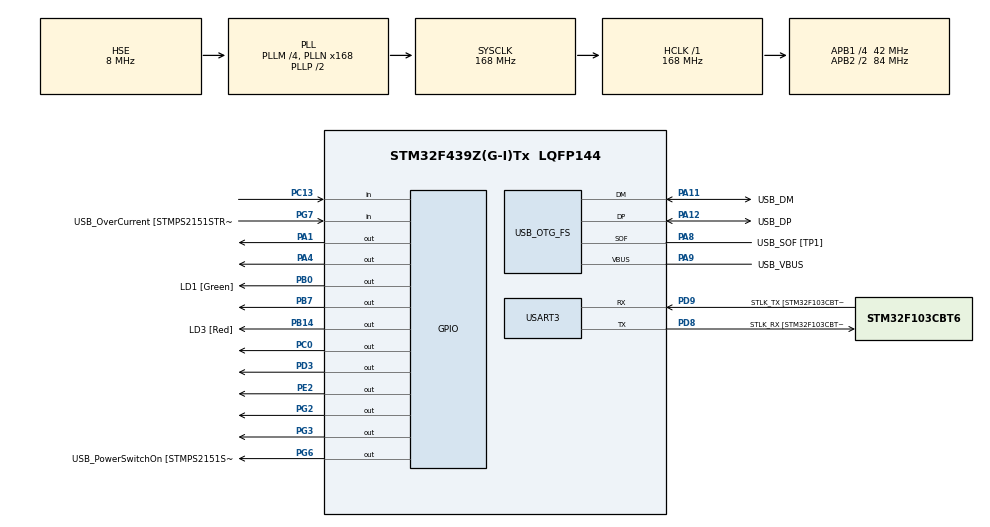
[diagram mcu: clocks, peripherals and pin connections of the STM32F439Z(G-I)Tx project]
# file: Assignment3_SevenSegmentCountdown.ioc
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Mcu.Family=STM32F4
Mcu.Name=STM32F439Z(G-I)Tx
Mcu.Package=LQFP144
NVIC.PriorityGroup=NVIC_PRIORITYGROUP_4
PA1.Signal=GPIO_Output
PA10.GPIO_Label=USB_ID
PA10.Signal=USB_OTG_FS_ID
PA11.GPIO_Label=USB_DM
PA11.Mode=Device_Only
PA11.Signal=USB_OTG_FS_DM
PA12.GPIO_Label=USB_DP
PA12.Mode=Device_Only
PA12.Signal=USB_OTG_FS_DP
PA13.GPIO_Label=TMS
PA13.Mode=Serial_Wire
PA13.Signal=SYS_JTMS-SWDIO
PA14.GPIO_Label=TCK
PA14.Mode=Serial_Wire
PA14.Signal=SYS_JTCK-SWCLK
PA2.GPIO_Label=RMII_MDIO [LAN8742A-CZ-TR_MDIO]
PA2.Signal=ETH_MDIO
PA4.Signal=GPIO_Output
PA7.GPIO_Label=RMII_CRS_DV [LAN8742A-CZ-TR_CRS_DV]
PA7.Signal=ETH_CRS_DV
PA8.GPIO_Label=USB_SOF [TP1]
PA8.Mode=Activate_SOF_FS
PA8.Signal=USB_OTG_FS_SOF
PA9.GPIO_Label=USB_VBUS
PA9.Mode=Activate_VBUS
PA9.Signal=USB_OTG_FS_VBUS
PB0.GPIO_Label=LD1 [Green]
PB0.Signal=GPIO_Output
PB13.GPIO_Label=RMII_TXD1 [LAN8742A-CZ-TR_TXD1]
PB13.Signal=ETH_TXD1
PB14.GPIO_Label=LD3 [Red]
PB14.Signal=GPIO_Output
PB7.Signal=GPIO_Output
PC0.Signal=GPIO_Output
PC1.GPIO_Label=RMII_MDC [LAN8742A-CZ-TR_MDC]
PC1.Signal=ETH_MDC
PC13.Signal=GPIO_Input
PC14/OSC32_IN.Mode=LSE-External-Oscillator
PC14/OSC32_IN.Signal=RCC_OSC32_IN
PC15/OSC32_OUT.Mode=LSE-External-Oscillator
PC15/OSC32_OUT.Signal=RCC_OSC32_OUT
PC4.GPIO_Label=RMII_RXD0 [LAN8742A-CZ-TR_RXD0]
PC4.Signal=ETH_RXD0
PC5.GPIO_Label=RMII_RXD1 [LAN8742A-CZ-TR_RXD1]
PC5.Signal=ETH_RXD1
PD3.Signal=GPIO_Output
PD8.GPIO_Label=STLK_RX [STM32F103CBT6_PA3]
PD8.Mode=Asynchronous
PD8.Signal=USART3_TX
PD9.GPIO_Label=STLK_TX [STM32F103CBT6_PA2]
PD9.Mode=Asynchronous
PD9.Signal=USART3_RX
PE2.Signal=GPIO_Output
PG11.GPIO_Label=RMII_TX_EN [LAN8742A-CZ-TR_TXEN]
PG11.Signal=ETH_TX_EN
PG13.GPIO_Label=RMII_TXD0 [LAN8742A-CZ-TR_TXD0]
PG13.Signal=ETH_TXD0
PG2.Signal=GPIO_Output
PG3.Signal=GPIO_Output
PG6.GPIO_Label=USB_PowerSwitchOn [STMPS2151STR_EN]
PG6.Signal=GPIO_Output
PG7.GPIO_Label=USB_OverCurrent [STMPS2151STR_FAULT]
PG7.Signal=GPIO_Input
PH0/OSC_IN.GPIO_Label=MCO [STM32F103CBT6_PA8]
PH0/OSC_IN.Mode=HSE-External-Clock-Source
PH0/OSC_IN.Signal=RCC_OSC_IN
PH1/OSC_OUT.Mode=HSE-External-Clock-Source
PH1/OSC_OUT.Signal=RCC_OSC_OUT
ProjectManager.HeapSize=0x200
ProjectManager.StackSize=0x400
ProjectManager.TargetToolchain=STM32CubeIDE
RCC.48MHZClocksFreq_Value=48000000
RCC.AHBFreq_Value=168000000
RCC.APB1CLKDivider=RCC_HCLK_DIV4
RCC.APB1Freq_Value=42000000
RCC.APB1TimFreq_Value=84000000
RCC.APB2CLKDivider=RCC_HCLK_DIV2
RCC.APB2Freq_Value=84000000
RCC.APB2TimCLKDivider=2
RCC.APB2TimFreq_Value=168000000
RCC.CortexFreq_Value=168000000
RCC.HCLKFreq_Value=168000000
RCC.HSE_VALUE=8000000
RCC.HSI_VALUE=16000000
RCC.PLLM=4
RCC.PLLMUL=RCC_PLL_MUL9
RCC.PLLN=168
RCC.PLLQ=7
RCC.PRESCALERUSB=RCC_USBCLKSOURCE_PLL_DIV1_5
RCC.SYSCLKFreq_VALUE=168000000
RCC.SYSCLKSource=RCC_SYSCLKSOURCE_PLLCLK
RCC.SYSCLKSourceVirtual=RCC_SYSCLKSOURCE_PLLCLK
RCC.USBFreq_Value=48000000
RCC.VCOOutputFreq_Value=336000000
USART3.VirtualMode=VM_ASYNC
USB_OTG_FS.VirtualMode=Device_Only
board=NUCLEO-F439ZI

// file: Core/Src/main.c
/* USER CODE BEGIN Header */
/**
  ******************************************************************************
  * @file           : main.c
  * @brief          : Main program body
  ******************************************************************************
  * @attention
  *
  * Copyright (c) 2025 STMicroelectronics.
  * All rights reserved.
  *
  * This software is licensed under terms that can be found in the LICENSE file
  * in the root directory of this software component.
  * If no LICENSE file comes with this software, it is provided AS-IS.
  *
  ******************************************************************************
  */
/* USER CODE END Header */
#include "main.h"

UART_HandleTypeDef huart3;

PCD_HandleTypeDef hpcd_USB_OTG_FS;

/* USER CODE BEGIN PV */
int counter = 0;
int selected_value;
int long_press_flag = 0;
int short_press_flag=0;
int debounce_time = 200;
int user_button;
int seven_map[] = {63, 6, 91, 79, 102, 109, 125, 7, 127, 111};

/* USER CODE END PV */

void SystemClock_Config(void);
static void MX_GPIO_Init(void);
static void MX_USART3_UART_Init(void);
static void MX_USB_OTG_FS_PCD_Init(void);

/* USER CODE BEGIN 0 */

void display_seven_segment(int num){
	//complete this function
	int shift_num = seven_map[num];

	HAL_GPIO_WritePin(GPIOA, GPIO_PIN_1, !(shift_num & 1) ); //A
	shift_num = shift_num >> 1;
	HAL_GPIO_WritePin(GPIOA, GPIO_PIN_4, !(shift_num & 1) );  //B
	shift_num = shift_num >> 1;
	HAL_GPIO_WritePin(GPIOC, GPIO_PIN_0, !(shift_num & 1) );  //C
	shift_num = shift_num >> 1;
	HAL_GPIO_WritePin(GPIOD, GPIO_PIN_3, !(shift_num & 1) ); //D
	shift_num = shift_num >> 1;
	HAL_GPIO_WritePin(GPIOG, GPIO_PIN_2, !(shift_num & 1)); //E
	shift_num = shift_num >> 1;
	HAL_GPIO_WritePin(GPIOG, GPIO_PIN_3, !(shift_num & 1) ); //F
	shift_num = shift_num >> 1;
	HAL_GPIO_WritePin(GPIOE, GPIO_PIN_2, !(shift_num & 1)); //G
}

void flash_leds(void){
	//make the LEDs flash
	HAL_GPIO_WritePin(GPIOB, LD1_Pin, 1);
		HAL_GPIO_WritePin(GPIOB, GPIO_PIN_7, 1);
		HAL_GPIO_WritePin(GPIOB, LD3_Pin, 1);
		HAL_Delay(800);

		HAL_GPIO_WritePin(GPIOB, LD1_Pin, 0);
		HAL_GPIO_WritePin(GPIOB, GPIO_PIN_7, 0);
		HAL_GPIO_WritePin(GPIOB, LD3_Pin, 0);
		HAL_Delay(200);

		HAL_GPIO_WritePin(GPIOB, LD1_Pin, 1);
		HAL_GPIO_WritePin(GPIOB, GPIO_PIN_7, 1);
		HAL_GPIO_WritePin(GPIOB, LD3_Pin, 1);
		HAL_Delay(800);

		HAL_GPIO_WritePin(GPIOB, LD1_Pin, 0);
		HAL_GPIO_WritePin(GPIOB, GPIO_PIN_7, 0);
		HAL_GPIO_WritePin(GPIOB, LD3_Pin, 0);
		HAL_Delay(200);

		HAL_GPIO_WritePin(GPIOB, LD1_Pin, 1);
		HAL_GPIO_WritePin(GPIOB, GPIO_PIN_7, 1);
		HAL_GPIO_WritePin(GPIOB, LD3_Pin, 1);
		HAL_Delay(800);

		HAL_GPIO_WritePin(GPIOB, LD1_Pin, 0);
		HAL_GPIO_WritePin(GPIOB, GPIO_PIN_7, 0);
		HAL_GPIO_WritePin(GPIOB, LD3_Pin, 0);
		HAL_Delay(200);
}

int check_long_press(void){
		HAL_Delay(50);
		user_button = HAL_GPIO_ReadPin(GPIOC,GPIO_PIN_13);
		if (user_button){
			short_press_flag=1;
		}
		for (int i=0;i<15;i++){
			user_button = HAL_GPIO_ReadPin(GPIOC,GPIO_PIN_13);
			if (user_button==0){
				return 0;
			}
			HAL_Delay(200);

		}
		short_press_flag=0;
		return 1;

}

/* USER CODE END 0 */

int main(void)
{

  /* MCU Configuration--------------------------------------------------------*/

  /* Reset of all peripherals, Initializes the Flash interface and the Systick. */
  HAL_Init();

  /* Configure the system clock */
  SystemClock_Config();

  /* Initialize all configured peripherals */
  MX_GPIO_Init();
  MX_USART3_UART_Init();
  MX_USB_OTG_FS_PCD_Init();

  /* Infinite loop */
  while (1)
  {
	  display_seven_segment(counter);
	  user_button = HAL_GPIO_ReadPin(GPIOC,GPIO_PIN_13);
	  if (user_button==1){
		  long_press_flag=check_long_press();
	  }
	  if (short_press_flag){
		  counter=(counter+1)%10;
		  display_seven_segment(counter);
		  short_press_flag=0;
	  }
	  if (long_press_flag){
		  flash_leds();
		  selected_value=counter;
		 while(1){
			 display_seven_segment(counter);
			 counter--;
			 if (counter==-1){
				 counter=selected_value;
			 }
			 HAL_Delay(500);
		 }
	  }
}
}

void SystemClock_Config(void)
{
  RCC_OscInitTypeDef RCC_OscInitStruct = {0};
  RCC_ClkInitTypeDef RCC_ClkInitStruct = {0};

  /** Configure the main internal regulator output voltage
  */
  __HAL_RCC_PWR_CLK_ENABLE();
  __HAL_PWR_VOLTAGESCALING_CONFIG(PWR_REGULATOR_VOLTAGE_SCALE1);

  /** Initializes the RCC Oscillators according to the specified parameters
  * in the RCC_OscInitTypeDef structure.
  */
  RCC_OscInitStruct.OscillatorType = RCC_OSCILLATORTYPE_HSE;
  RCC_OscInitStruct.HSEState = RCC_HSE_BYPASS;
  RCC_OscInitStruct.PLL.PLLState = RCC_PLL_ON;
  RCC_OscInitStruct.PLL.PLLSource = RCC_PLLSOURCE_HSE;
  RCC_OscInitStruct.PLL.PLLM = 4;
  RCC_OscInitStruct.PLL.PLLN = 168;
  RCC_OscInitStruct.PLL.PLLP = RCC_PLLP_DIV2;
  RCC_OscInitStruct.PLL.PLLQ = 7;
  if (HAL_RCC_OscConfig(&RCC_OscInitStruct) != HAL_OK)
  {
    Error_Handler();
  }

  /** Initializes the CPU, AHB and APB buses clocks
  */
  RCC_ClkInitStruct.ClockType = RCC_CLOCKTYPE_HCLK|RCC_CLOCKTYPE_SYSCLK
                              |RCC_CLOCKTYPE_PCLK1|RCC_CLOCKTYPE_PCLK2;
  RCC_ClkInitStruct.SYSCLKSource = RCC_SYSCLKSOURCE_PLLCLK;
  RCC_ClkInitStruct.AHBCLKDivider = RCC_SYSCLK_DIV1;
  RCC_ClkInitStruct.APB1CLKDivider = RCC_HCLK_DIV4;
  RCC_ClkInitStruct.APB2CLKDivider = RCC_HCLK_DIV2;

  if (HAL_RCC_ClockConfig(&RCC_ClkInitStruct, FLASH_LATENCY_5) != HAL_OK)
  {
    Error_Handler();
  }
}

static void MX_USART3_UART_Init(void)
{

  huart3.Instance = USART3;
  huart3.Init.BaudRate = 115200;
  huart3.Init.WordLength = UART_WORDLENGTH_8B;
  huart3.Init.StopBits = UART_STOPBITS_1;
  huart3.Init.Parity = UART_PARITY_NONE;
  huart3.Init.Mode = UART_MODE_TX_RX;
  huart3.Init.HwFlowCtl = UART_HWCONTROL_NONE;
  huart3.Init.OverSampling = UART_OVERSAMPLING_16;
  if (HAL_UART_Init(&huart3) != HAL_OK)
  {
    Error_Handler();
  }

}

static void MX_USB_OTG_FS_PCD_Init(void)
{

  hpcd_USB_OTG_FS.Instance = USB_OTG_FS;
  hpcd_USB_OTG_FS.Init.dev_endpoints = 4;
  hpcd_USB_OTG_FS.Init.speed = PCD_SPEED_FULL;
  hpcd_USB_OTG_FS.Init.dma_enable = DISABLE;
  hpcd_USB_OTG_FS.Init.phy_itface = PCD_PHY_EMBEDDED;
  hpcd_USB_OTG_FS.Init.Sof_enable = ENABLE;
  hpcd_USB_OTG_FS.Init.low_power_enable = DISABLE;
  hpcd_USB_OTG_FS.Init.lpm_enable = DISABLE;
  hpcd_USB_OTG_FS.Init.vbus_sensing_enable = ENABLE;
  hpcd_USB_OTG_FS.Init.use_dedicated_ep1 = DISABLE;
  if (HAL_PCD_Init(&hpcd_USB_OTG_FS) != HAL_OK)
  {
    Error_Handler();
  }

}

static void MX_GPIO_Init(void)
{
  GPIO_InitTypeDef GPIO_InitStruct = {0};

  /* GPIO Ports Clock Enable */
  __HAL_RCC_GPIOE_CLK_ENABLE();
  __HAL_RCC_GPIOC_CLK_ENABLE();
  __HAL_RCC_GPIOH_CLK_ENABLE();
  __HAL_RCC_GPIOA_CLK_ENABLE();
  __HAL_RCC_GPIOB_CLK_ENABLE();
  __HAL_RCC_GPIOD_CLK_ENABLE();
  __HAL_RCC_GPIOG_CLK_ENABLE();

  /*Configure GPIO pin Output Level */
  HAL_GPIO_WritePin(GPIOE, GPIO_PIN_2, GPIO_PIN_RESET);

  /*Configure GPIO pin Output Level */
  HAL_GPIO_WritePin(GPIOC, GPIO_PIN_0, GPIO_PIN_RESET);

  /*Configure GPIO pin Output Level */
  HAL_GPIO_WritePin(GPIOA, GPIO_PIN_1|GPIO_PIN_4, GPIO_PIN_RESET);

  /*Configure GPIO pin Output Level */
  HAL_GPIO_WritePin(GPIOB, LD1_Pin|LD3_Pin|GPIO_PIN_7, GPIO_PIN_RESET);

  /*Configure GPIO pin Output Level */
  HAL_GPIO_WritePin(GPIOG, GPIO_PIN_2|GPIO_PIN_3|USB_PowerSwitchOn_Pin, GPIO_PIN_RESET);

  /*Configure GPIO pin Output Level */
  HAL_GPIO_WritePin(GPIOD, GPIO_PIN_3, GPIO_PIN_RESET);

  /*Configure GPIO pin : PE2 */
  GPIO_InitStruct.Pin = GPIO_PIN_2;
  GPIO_InitStruct.Mode = GPIO_MODE_OUTPUT_PP;
  GPIO_InitStruct.Pull = GPIO_NOPULL;
  GPIO_InitStruct.Speed = GPIO_SPEED_FREQ_LOW;
  HAL_GPIO_Init(GPIOE, &GPIO_InitStruct);

  /*Configure GPIO pin : PC13 */
  GPIO_InitStruct.Pin = GPIO_PIN_13;
  GPIO_InitStruct.Mode = GPIO_MODE_INPUT;
  GPIO_InitStruct.Pull = GPIO_NOPULL;
  HAL_GPIO_Init(GPIOC, &GPIO_InitStruct);

  /*Configure GPIO pin : PC0 */
  GPIO_InitStruct.Pin = GPIO_PIN_0;
  GPIO_InitStruct.Mode = GPIO_MODE_OUTPUT_PP;
  GPIO_InitStruct.Pull = GPIO_NOPULL;
  GPIO_InitStruct.Speed = GPIO_SPEED_FREQ_LOW;
  HAL_GPIO_Init(GPIOC, &GPIO_InitStruct);

  /*Configure GPIO pins : RMII_MDC_Pin RMII_RXD0_Pin RMII_RXD1_Pin */
  GPIO_InitStruct.Pin = RMII_MDC_Pin|RMII_RXD0_Pin|RMII_RXD1_Pin;
  GPIO_InitStruct.Mode = GPIO_MODE_AF_PP;
  GPIO_InitStruct.Pull = GPIO_NOPULL;
  GPIO_InitStruct.Speed = GPIO_SPEED_FREQ_VERY_HIGH;
  GPIO_InitStruct.Alternate = GPIO_AF11_ETH;
  HAL_GPIO_Init(GPIOC, &GPIO_InitStruct);

  /*Configure GPIO pins : PA1 PA4 */
  GPIO_InitStruct.Pin = GPIO_PIN_1|GPIO_PIN_4;
  GPIO_InitStruct.Mode = GPIO_MODE_OUTPUT_PP;
  GPIO_InitStruct.Pull = GPIO_NOPULL;
  GPIO_InitStruct.Speed = GPIO_SPEED_FREQ_LOW;
  HAL_GPIO_Init(GPIOA, &GPIO_InitStruct);

  /*Configure GPIO pins : RMII_MDIO_Pin RMII_CRS_DV_Pin */
  GPIO_InitStruct.Pin = RMII_MDIO_Pin|RMII_CRS_DV_Pin;
  GPIO_InitStruct.Mode = GPIO_MODE_AF_PP;
  GPIO_InitStruct.Pull = GPIO_NOPULL;
  GPIO_InitStruct.Speed = GPIO_SPEED_FREQ_VERY_HIGH;
  GPIO_InitStruct.Alternate = GPIO_AF11_ETH;
  HAL_GPIO_Init(GPIOA, &GPIO_InitStruct);

  /*Configure GPIO pins : LD1_Pin LD3_Pin PB7 */
  GPIO_InitStruct.Pin = LD1_Pin|LD3_Pin|GPIO_PIN_7;
  GPIO_InitStruct.Mode = GPIO_MODE_OUTPUT_PP;
  GPIO_InitStruct.Pull = GPIO_NOPULL;
  GPIO_InitStruct.Speed = GPIO_SPEED_FREQ_LOW;
  HAL_GPIO_Init(GPIOB, &GPIO_InitStruct);

  /*Configure GPIO pin : RMII_TXD1_Pin */
  GPIO_InitStruct.Pin = RMII_TXD1_Pin;
  GPIO_InitStruct.Mode = GPIO_MODE_AF_PP;
  GPIO_InitStruct.Pull = GPIO_NOPULL;
  GPIO_InitStruct.Speed = GPIO_SPEED_FREQ_VERY_HIGH;
  GPIO_InitStruct.Alternate = GPIO_AF11_ETH;
  HAL_GPIO_Init(RMII_TXD1_GPIO_Port, &GPIO_InitStruct);

  /*Configure GPIO pins : PG2 PG3 USB_PowerSwitchOn_Pin */
  GPIO_InitStruct.Pin = GPIO_PIN_2|GPIO_PIN_3|USB_PowerSwitchOn_Pin;
  GPIO_InitStruct.Mode = GPIO_MODE_OUTPUT_PP;
  GPIO_InitStruct.Pull = GPIO_NOPULL;
  GPIO_InitStruct.Speed = GPIO_SPEED_FREQ_LOW;
  HAL_GPIO_Init(GPIOG, &GPIO_InitStruct);

  /*Configure GPIO pin : USB_OverCurrent_Pin */
  GPIO_InitStruct.Pin = USB_OverCurrent_Pin;
  GPIO_InitStruct.Mode = GPIO_MODE_INPUT;
  GPIO_InitStruct.Pull = GPIO_NOPULL;
  HAL_GPIO_Init(USB_OverCurrent_GPIO_Port, &GPIO_InitStruct);

  /*Configure GPIO pin : PD3 */
  GPIO_InitStruct.Pin = GPIO_PIN_3;
  GPIO_InitStruct.Mode = GPIO_MODE_OUTPUT_PP;
  GPIO_InitStruct.Pull = GPIO_NOPULL;
  GPIO_InitStruct.Speed = GPIO_SPEED_FREQ_LOW;
  HAL_GPIO_Init(GPIOD, &GPIO_InitStruct);

  /*Configure GPIO pins : RMII_TX_EN_Pin RMII_TXD0_Pin */
  GPIO_InitStruct.Pin = RMII_TX_EN_Pin|RMII_TXD0_Pin;
  GPIO_InitStruct.Mode = GPIO_MODE_AF_PP;
  GPIO_InitStruct.Pull = GPIO_NOPULL;
  GPIO_InitStruct.Speed = GPIO_SPEED_FREQ_VERY_HIGH;
  GPIO_InitStruct.Alternate = GPIO_AF11_ETH;
  HAL_GPIO_Init(GPIOG, &GPIO_InitStruct);

}

void Error_Handler(void)
{
  __disable_irq();
  while (1)
  {
  }
}
